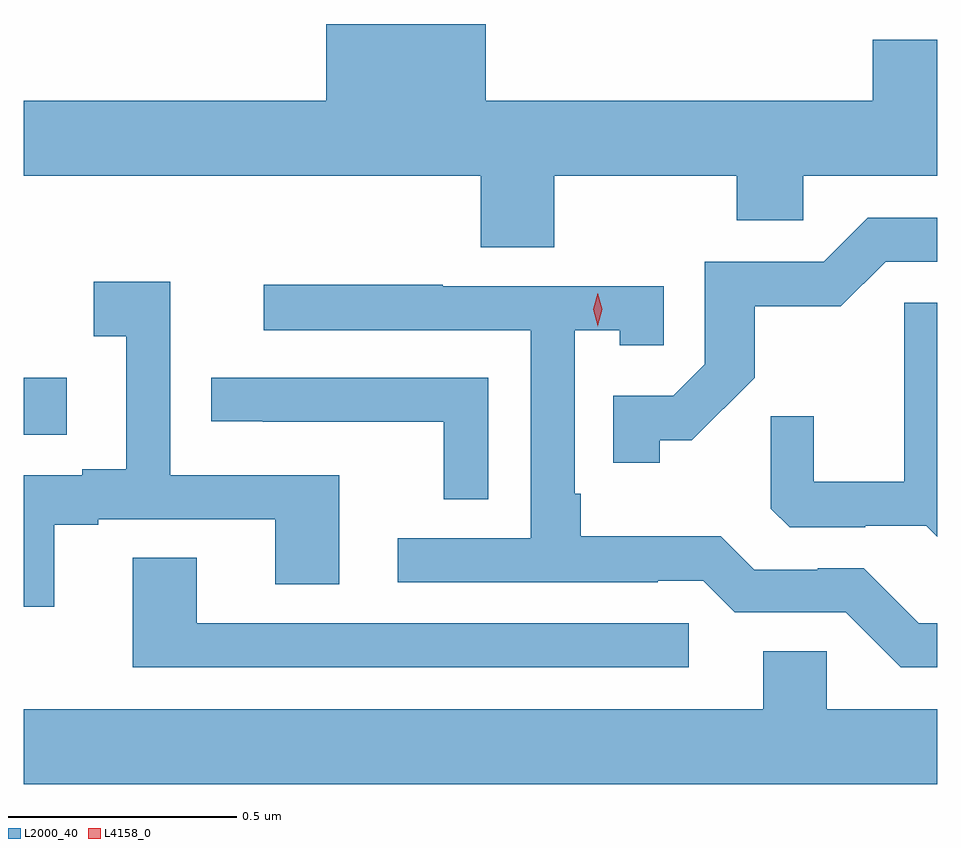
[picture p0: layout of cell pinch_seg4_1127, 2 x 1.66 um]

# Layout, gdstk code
import gdstk
lib = gdstk.Library(unit=1e-6, precision=1e-09)
def R(c, l, rs):  # rectangles x0, y0, x1, y1
    for r in rs: c.add(gdstk.rectangle(r[:2], r[2:], *l))
def P(c, l, *ps):  # polygons
    for p in ps: c.add(gdstk.Polygon(p, *l))
L2000_40 = (2000, 40)
L4158_0 = (4158, 0)

pinch_seg4_1127 = lib.new_cell('pinch_seg4_1127')
R(pinch_seg4_1127, L2000_40, [(422.652,794.921,422.746,795.045)])
P(pinch_seg4_1127, L2000_40, [(423.813,795.488),(424.213,795.488),(424.213,795.39),(424.359,795.39),(424.359,795.488),(424.652,795.488),(424.652,795.785),(424.511,795.785),(424.511,795.652),(423.664,795.652),(423.664,795.82),(423.314,795.82),(423.314,795.652),(422.652,795.652),(422.652,795.488),(423.653,795.488),(423.653,795.331),(423.813,795.331)],
  [(424.044,794.909),(424.114,794.909),(424.252,795.046),(424.252,795.202),(424.441,795.202),(424.539,795.3),(424.652,795.3),(424.652,795.396),(424.5,795.396),(424.404,795.3),(424.143,795.3),(424.143,795.075),(424.074,795.006),(423.943,795.006),(423.943,794.859),(424.044,794.859)],
  [(422.719,794.724),(422.815,794.724),(422.815,794.736),(423.203,794.736),(423.203,794.593),(423.343,794.593),(423.343,794.832),(422.973,794.832),(422.973,795.256),(422.805,795.256),(422.805,795.136),(422.876,795.136),(422.876,794.845),(422.78,794.845),(422.78,794.832),(422.652,794.832),(422.652,794.544),(422.719,794.544)],
  [(424.652,794.508),(424.611,794.508),(424.491,794.628),(424.39,794.628),(424.39,794.625),(424.251,794.625),(424.178,794.698),(423.871,794.698),(423.871,794.791),(423.858,794.791),(423.858,795.149),(423.957,795.149),(423.957,795.117),(424.053,795.117),(424.053,795.246),(423.569,795.246),(423.569,795.249),(423.177,795.249),(423.177,795.15),(423.762,795.15),(423.762,794.694),(423.471,794.694),(423.471,794.598),(424.04,794.598),(424.04,794.601),(424.14,794.601),(424.209,794.532),(424.452,794.532),(424.572,794.412),(424.652,794.412)],
  [(424.652,795.21),(424.58,795.21),(424.58,794.818),(424.382,794.818),(424.382,794.961),(424.288,794.961),(424.288,794.759),(424.329,794.718),(424.494,794.718),(424.494,794.721),(424.628,794.721),(424.652,794.697)],
  [(423.669,795.045),(423.063,795.045),(423.063,794.95),(423.175,794.95),(423.175,794.949),(423.571,794.949),(423.571,794.779),(423.669,794.779)],
  [(424.108,794.508),(423.031,794.508),(423.031,794.651),(422.891,794.651),(422.891,794.412),(424.108,794.412)],
  [(424.652,794.32),(424.41,794.32),(424.41,794.447),(424.271,794.447),(424.271,794.32),(422.652,794.32),(422.652,794.156),(424.652,794.156)])
P(pinch_seg4_1127, L4158_0, [(423.909,795.158),(423.909,795.159),(423.899,795.195),(423.909,795.231),(423.909,795.231),(423.909,795.231),(423.919,795.195),(423.909,795.159)])

lib.write_gds('pinch_seg4_1127.gds')
